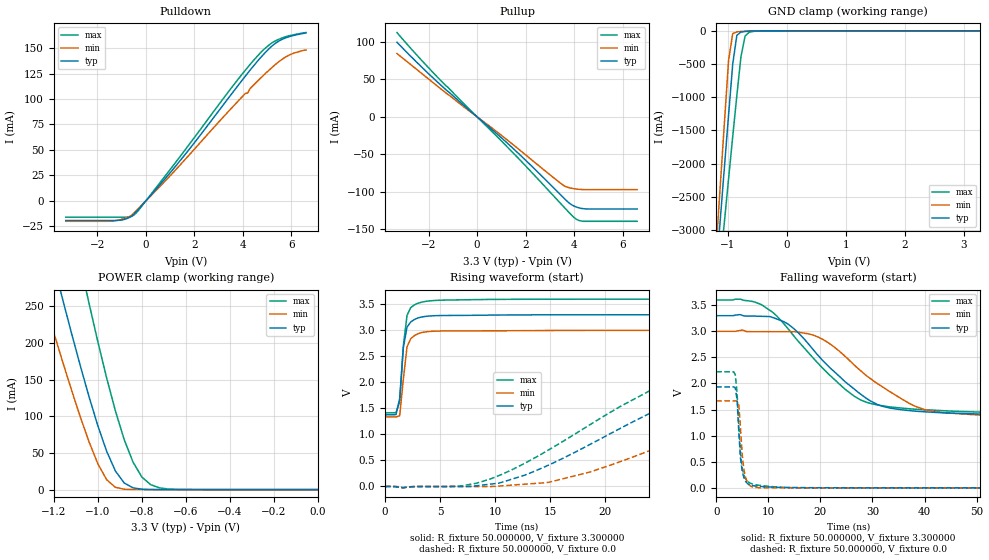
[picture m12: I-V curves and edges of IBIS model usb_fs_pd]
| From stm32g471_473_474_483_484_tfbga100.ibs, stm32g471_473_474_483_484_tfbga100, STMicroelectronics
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|   Model usb_fs_pd
[Model]  usb_fs_pd
Model_type I/O
Polarity   Non-Inverting
Enable   Active-Low
Vinl =   0.990000V
Vinh =   2.310000V
Vmeas =  1.650000V
Cref =   40.000000pF
Rref =   100.000000M
Vref =   0.0V
C_comp   6.430500pF   6.217500pF   6.599700pF
[Temperature Range]   25.000000   -40.000000   0.125000k
[Pullup Reference]   3.300000V   3.000000V   3.600000V
[Pulldown Reference]   0.0V   0.0V   0.0V
[POWER Clamp Reference]   3.300000V   3.000000V   3.600000V
[GND Clamp Reference]   0.0V   0.0V   0.0V
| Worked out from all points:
|   slope of the pulldown table from 0 to 0.495 V, typ, clamps not added: 36.7 ohm
|   slope of the pullup table from 0 to 0.495 V, typ, clamps not added: 36.2 ohm
|   GND clamp passes 1 mA (typ) near -0.51 V on its own axis
|   POWER clamp passes 1 mA (typ) near -0.81 V on its own axis
|   rising waveform, R_fixture 50.000000, V_fixture 3.300000: 20-80 % time 518ps typ, 512ps min, 526ps max; typ from 1.38 V to 3.3 V
|   rising waveform, R_fixture 50.000000, V_fixture 0.0: 20-80 % time 10.9ns typ, 12.9ns min, 10.9ns max; typ from 0 V to 1.94 V
|   falling waveform, R_fixture 50.000000, V_fixture 3.300000: 20-80 % time 11.9ns typ, 13.2ns min, 12.4ns max; typ from 3.3 V to 1.38 V
|   falling waveform, R_fixture 50.000000, V_fixture 0.0: 20-80 % time 825ps typ, 820ps min, 892ps max; typ from 1.94 V to 0 V
[Pulldown]
|Voltage   I(typ)   I(min)   I(max)
-3.3V     -19.3mA    -20.1mA    -16.04mA
-1.4V     -19.3mA    -19.9mA    -16.04mA
-900mV    -18.33mA   -17.41mA   -16.04mA
-500mV    -13.43mA   -12.17mA   -14.04mA
1.5V      42.03mA    37.52mA    46.33mA
3.6V      107.1mA    92.81mA    113.2mA
4.1V      122.5mA    105.4mA    128.3mA
4.2V      125.5mA    105.9mA    131.2mA
4.7V      139.9mA    119.8mA    144.7mA
5.5V      157.2mA    137mA      158.9mA
5.9V      161.2mA    143.1mA    162.1mA
6.6V      164.9mA    148.2mA    165.3mA
[Pullup]
|Voltage   I(typ)   I(min)   I(max)
-3.3V     99.5mA     84.4mA     112.5mA
-1.8V     51.5mA     45.2mA     58.5mA
1.4V      -39.83mA   -35.11mA   -45.47mA
3.5V      -106.2mA   -90.37mA   -117.9mA
3.8V      -115.5mA   -94.94mA   -128.3mA
4V        -119.5mA   -96.24mA   -134.8mA
4.2V      -121.8mA   -97.1mA    -138.7mA
4.4V      -123mA     -97.4mA    -139.8mA
6.6V      -123.4mA   -97.4mA    -139.8mA
[GND_clamp]
|Voltage   I(typ)   I(min)   I(max)
-3.3V     -10A       -9.932A    -9.409A
-1.2V     -3.625A    -3.264A    -4.165A
-1.13V    -2.833A    -2.317A    -3.515A
-1.06V    -2.046A    -1.375A    -2.868A
-990mV    -1.266A    -445.1mA   -2.226A
-920mV    -503.5mA   -41.45mA   -1.593A
-850mV    -68.24mA   -15.91mA   -976.3mA
-780mV    -18.24mA   -9.781mA   -388mA
-710mV    -9.49mA    -5.26mA    -77.73mA
-640mV    -5.165mA   -2.071mA   -21.59mA
-360mV    -29.75uA   -16.08uA   -441.1uA
3.28V     165.7uA    130.1uA    190.5uA
[POWER_clamp]
|Voltage   I(typ)   I(min)   I(max)
-3.28V    2.966A     2.441A     3.782A
-1.28V    401.9mA    294mA      598.3mA
-1.24V    353.8mA    253.5mA    538.6mA
-1.16V    259.3mA    174.3mA    421.4mA
-1.08V    169mA      99.32mA    308.1mA
-1.04V    126.5mA    65.09mA    253.7mA
-960mV    52.29mA    13.42mA    152.1mA
-920mV    25.24mA    3.092mA    107mA
-840mV    2.418mA    75.94uA    37.33mA
-760mV    129.2uA    1.641uA    6.707mA
-640mV    1.455uA    0A         261.4uA
0V        0A         0A         66.72nA
[Ramp]
| variable   typ   min   max
dV/dt_r  1.16088/10.83626n   0.99954/12.84747n   1.33506/10.80784n
dV/dt_f  1.15380/11.87854n   0.99840/13.12132n   1.31106/12.39834n
R_load = 50.000000
[Rising Waveform]
R_fixture= 50.000000
V_fixture= 3.300000
V_fixture_min= 3.000000
V_fixture_max= 3.600000
|time   V(typ)   V(min)   V(max)
0s        1.377V     1.335V     1.414V
1.001ns   1.381V     1.335V     1.42V
1.335ns   1.689V     1.358V     1.626V
1.668ns   2.669V     2.061V     2.705V
2.002ns   3.061V     2.682V     3.287V
2.336ns   3.159V     2.839V     3.435V
2.669ns   3.208V     2.898V     3.489V
3.337ns   3.256V     2.957V     3.541V
4.671ns   3.282V     2.984V     3.575V
166.2ns   3.299V     3V         3.599V
[Rising Waveform]
R_fixture= 50.000000
V_fixture= 0.0
V_fixture_min= 0.0
V_fixture_max= 0.0
|time   V(typ)   V(min)   V(max)
0s        -5.087uV   -2.921uV   2.89uV
8.342ns   14.25mV    -934.8uV   64.05mV
10.34ns   63.22mV    7.915mV    207.9mV
15.02ns   424.2mV    86.27mV    718.8mV
24.36ns   1.433V     711.5mV    1.862V
27.69ns   1.704V     982.8mV    2.025V
32.03ns   1.816V     1.316V     2.107V
37.7ns    1.872V     1.542V     2.16V
56.39ns   1.929V     1.649V     2.214V
166.2ns   1.935V     1.666V     2.225V
[Falling Waveform]
R_fixture= 50.000000
V_fixture= 3.300000
V_fixture_min= 3.000000
V_fixture_max= 3.600000
|time   V(typ)   V(min)   V(max)
0s        3.299V     3V         3.599V
7.341ns   3.291V     2.992V     3.563V
13.01ns   3.183V     2.993V     3.143V
19.35ns   2.562V     2.898V     2.409V
24.69ns   2.04V      2.526V     1.894V
28.03ns   1.774V     2.219V     1.673V
33.37ns   1.529V     1.843V     1.551V
40.04ns   1.457V     1.498V     1.497V
50.38ns   1.415V     1.396V     1.453V
166.2ns   1.377V     1.335V     1.414V
[Falling Waveform]
R_fixture= 50.000000
V_fixture= 0.0
V_fixture_min= 0.0
V_fixture_max= 0.0
|time   V(typ)   V(min)   V(max)
0s        1.935V     1.666V     2.225V
3.67ns    1.914V     1.666V     2.17V
4.004ns   1.69V      1.666V     1.823V
4.338ns   1.074V     1.594V     1.193V
4.671ns   564.3mV    1.14V      656.2mV
5.005ns   312.2mV    620.3mV    371.2mV
5.339ns   190.1mV    337.8mV    239.5mV
6.006ns   81.62mV    103.6mV    125.8mV
8.342ns   28.69mV    2.523mV    47.92mV
166.2ns   -5.087uV   -2.921uV   2.89uV
